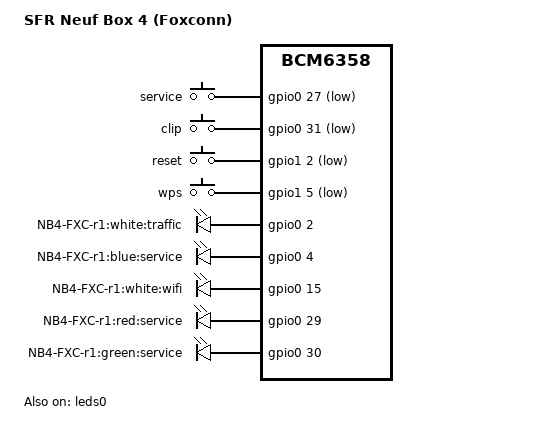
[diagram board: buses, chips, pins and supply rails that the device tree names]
/dts-v1/;

/include/ "bcm6358.dtsi"

/ {
	model = "SFR Neuf Box 4 (Foxconn)";
	compatible = "sfr,nb4-fxc-r1", "brcm,bcm6358";

	gpio-keys-polled {
		compatible = "gpio-keys-polled";
		#address-cells = <1>;
		#size-cells = <0>;
		poll-interval = <20>;
		debounce-interval = <60>;

		service {
			label = "service";
			gpios = <&gpio0 27 1>;
			linux,code = <0x100>;
		};
		clip {
			label = "clip";
			gpios = <&gpio0 31 1>;
			linux,code = <0x101>;
		};
		reset {
			label = "reset";
			gpios = <&gpio1 2 1>;
			linux,code = <0x198>;
		};
		wps {
			label = "wps";
			gpios = <&gpio1 5 1>;
			linux,code = <0x211>;
		};
	};

	gpio-leds {
		compatible = "gpio-leds";

		traffic_white {
			label = "NB4-FXC-r1:white:traffic";
			gpios = <&gpio0 2 0>;
		};
		service_blue {
			label = "NB4-FXC-r1:blue:service";
			gpios = <&gpio0 4 0>;
		};
		wifi_white {
			label = "NB4-FXC-r1:white:wifi";
			gpios = <&gpio0 15 0>;
		};
		service_red {
			label = "NB4-FXC-r1:red:service";
			gpios = <&gpio0 29 0>;
		};
		service_green {
			label = "NB4-FXC-r1:green:service";
			gpios = <&gpio0 30 0>;
		};
	};
};

&leds0 {
	status = "ok";

	alarm_white {
		reg = <0>;
		active-low;
		label = "NB4-FXC-r1:white:alarm";
	};
	tv_white {
		reg = <2>;
		active-low;
		label = "NB4-FXC-r1:white:tv";
	};
	tel_white {
		reg = <3>;
		active-low;
		label = "NB4-FXC-r1:white:tel";
	};
	adsl_white {
		reg = <4>;
		active-low;
		label = "NB4-FXC-r1:white:adsl";
	};
};
